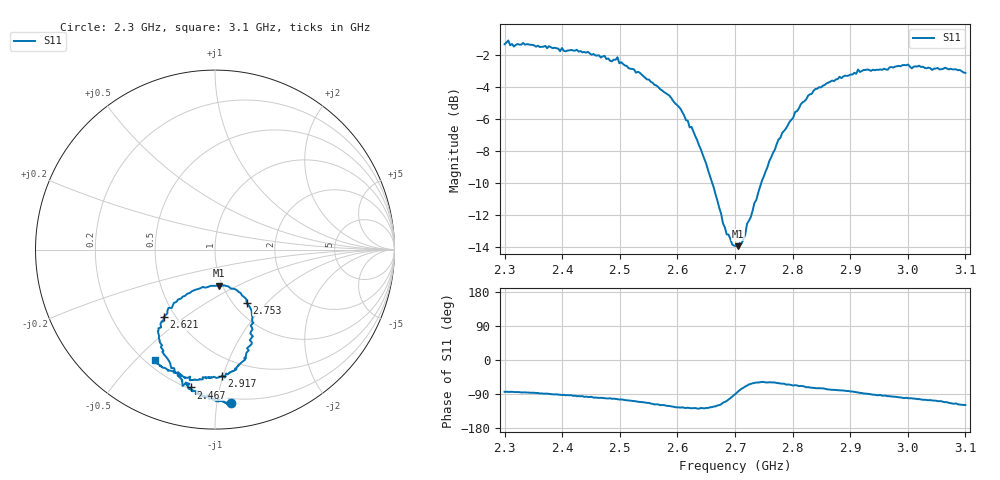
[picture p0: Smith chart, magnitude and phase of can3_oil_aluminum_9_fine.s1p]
# MHz S MA R 50
!  freq  S11
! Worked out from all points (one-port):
!   250 points, 2.3 GHz to 3.1 GHz, reference 50 ohm
!   lowest |S11| = -13.9 dB at 2.705 GHz (marker M1), VSWR 1.50, Z = 48.1 - j20.1 ohm
!   |S11| at or under -10 dB: 2.66 GHz to 2.745 GHz (84.97 MHz wide, 3.14 % of centre)
!   S11 on the Smith chart (normalised r, x): 2.3 GHz: 0.17, -1.10; 2.467 GHz: 0.21, -0.82; 2.621 GHz: 0.43, -0.42; 2.753 GHz: 1.15, -0.77; 2.917 GHz: 0.36, -0.99; 3.1 GHz: 0.24, -0.57
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2300  0.8576 -84.0
2306.426  0.8809 -84.2
2316.064  0.8435 -84.5
2332.129  0.8652 -85.5
2402.811  0.8179 -92.1
2467.068  0.7796 -99.8
2486.345  0.7586 -102.5
2495.984  0.781 -103.3
2499.197  0.7476 -104.2
2502.41  0.7539 -104.1
2560.241  0.6406 -117.3
2602.008  0.5483 -125.0
2621.285  0.4721 -126.9
2646.988  0.3757 -127.7
2685.542  0.2189 -108.2
2701.606  0.2016 -88.6
2704.819  0.2012 -83.9
2717.671  0.2181 -70.1
2753.012  0.3435 -59.1
2785.141  0.4602 -62.2
2801.205  0.5063 -67.2
2839.759  0.6219 -74.0
2900.803  0.6901 -83.2
2916.867  0.7026 -86.8
3000.402  0.7411 -101.0
3058.233  0.7167 -108.7
3077.51  0.7159 -115.1
3100  0.6981 -118.6
